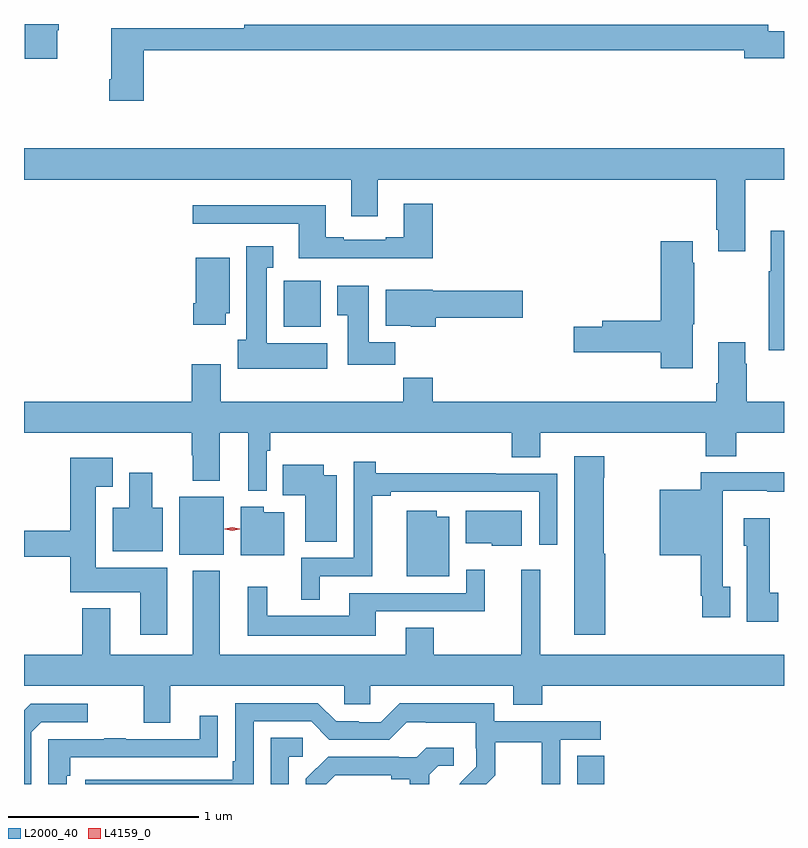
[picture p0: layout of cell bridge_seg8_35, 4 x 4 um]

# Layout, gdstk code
import gdstk
lib = gdstk.Library(unit=1e-6, precision=1e-09)
def R(c, l, rs):  # rectangles x0, y0, x1, y1
    for r in rs: c.add(gdstk.rectangle(r[:2], r[2:], *l))
def P(c, l, *ps):  # polygons
    for p in ps: c.add(gdstk.Polygon(p, *l))
L2000_40 = (2000, 40)
L4159_0 = (4159, 0)

bridge_seg8_35 = lib.new_cell('bridge_seg8_35')
R(bridge_seg8_35, L2000_40, [(1079.327,1126.639,1079.471,1126.787), (1077.233,1127.846,1077.466,1128.151), (1077.782,1129.046,1077.979,1129.288)])
P(bridge_seg8_35, L2000_40, [(1076.59,1130.607),(1076.598,1130.607),(1076.598,1130.639),(1076.42,1130.639),(1076.42,1130.457),(1076.59,1130.457)],
  [(1077.047,1130.5),(1080.206,1130.5),(1080.206,1130.458),(1080.416,1130.458),(1080.416,1130.6),(1080.334,1130.6),(1080.334,1130.636),(1077.574,1130.636),(1077.574,1130.617),(1077.322,1130.617),(1077.322,1130.616),(1076.876,1130.616),(1076.876,1130.347),(1076.864,1130.347),(1076.864,1130.235),(1077.047,1130.235)],
  [(1080.211,1129.82),(1080.416,1129.82),(1080.416,1129.984),(1076.416,1129.984),(1076.416,1129.82),(1078.139,1129.82),(1078.139,1129.626),(1078.279,1129.626),(1078.279,1129.82),(1080.059,1129.82),(1080.059,1129.555),(1080.071,1129.555),(1080.071,1129.443),(1080.211,1129.443)],
  [(1078.568,1129.693),(1078.415,1129.693),(1078.415,1129.516),(1078.319,1129.516),(1078.319,1129.503),(1078.099,1129.503),(1078.099,1129.516),(1078.003,1129.516),(1078.003,1129.684),(1077.303,1129.684),(1077.303,1129.587),(1077.863,1129.587),(1077.863,1129.406),(1078.568,1129.406)],
  [(1080.416,1129.552),(1080.347,1129.552),(1080.347,1129.339),(1080.336,1129.339),(1080.336,1128.923),(1080.416,1128.923)],
  [(1079.935,1129.059),(1079.943,1129.059),(1079.943,1129.382),(1079.935,1129.382),(1079.935,1129.495),(1079.768,1129.495),(1079.768,1129.076),(1079.459,1129.076),(1079.459,1129.046),(1079.31,1129.046),(1079.31,1128.911),(1079.768,1128.911),(1079.768,1128.828),(1079.935,1128.828)],
  [(1078.012,1128.958),(1077.694,1128.958),(1077.694,1129.355),(1077.727,1129.355),(1077.727,1129.468),(1077.587,1129.468),(1077.587,1128.978),(1077.542,1128.978),(1077.542,1128.824),(1078.012,1128.824)],
  [(1077.478,1129.116),(1077.499,1129.116),(1077.499,1129.408),(1077.32,1129.408),(1077.32,1129.168),(1077.308,1129.168),(1077.308,1129.056),(1077.478,1129.056)],
  [(1078.37,1128.964),(1078.231,1128.964),(1078.231,1129.261),(1078.064,1129.261),(1078.064,1129.105),(1078.121,1129.105),(1078.121,1128.846),(1078.37,1128.846)],
  [(1078.583,1129.093),(1079.041,1129.093),(1079.041,1129.235),(1078.566,1129.235),(1078.566,1129.24),(1078.319,1129.24),(1078.319,1129.052),(1078.452,1129.052),(1078.452,1129.046),(1078.583,1129.046)],
  [(1077.693,1128.392),(1077.713,1128.392),(1077.713,1128.488),(1078.982,1128.488),(1078.982,1128.358),(1079.134,1128.358),(1079.134,1128.488),(1080.005,1128.488),(1080.005,1128.364),(1080.165,1128.364),(1080.165,1128.488),(1080.416,1128.488),(1080.416,1128.652),(1080.219,1128.652),(1080.219,1128.851),(1080.211,1128.851),(1080.211,1128.964),(1080.071,1128.964),(1080.071,1128.748),(1080.059,1128.748),(1080.059,1128.652),(1078.568,1128.652),(1078.568,1128.776),(1078.411,1128.776),(1078.411,1128.652),(1077.451,1128.652),(1077.451,1128.847),(1077.299,1128.847),(1077.299,1128.652),(1076.416,1128.652),(1076.416,1128.488),(1077.298,1128.488),(1077.298,1128.368),(1077.305,1128.368),(1077.305,1128.236),(1077.445,1128.236),(1077.445,1128.488),(1077.596,1128.488),(1077.596,1128.182),(1077.693,1128.182)],
  [(1079.476,1127.85),(1079.466,1127.85),(1079.466,1128.251),(1079.471,1128.251),(1079.471,1128.364),(1079.312,1128.364),(1079.312,1127.424),(1079.476,1127.424)],
  [(1077.169,1127.776),(1076.794,1127.776),(1076.794,1128.203),(1076.884,1128.203),(1076.884,1128.355),(1076.66,1128.355),(1076.66,1127.972),(1076.416,1127.972),(1076.416,1127.836),(1076.66,1127.836),(1076.66,1127.648),(1077.029,1127.648),(1077.029,1127.424),(1077.169,1127.424)],
  [(1077.973,1127.733),(1078.25,1127.733),(1078.25,1128.157),(1078.345,1128.157),(1078.345,1128.177),(1079.127,1128.177),(1079.127,1127.898),(1079.223,1127.898),(1079.223,1128.273),(1078.898,1128.273),(1078.898,1128.275),(1078.268,1128.275),(1078.268,1128.334),(1078.152,1128.334),(1078.152,1127.829),(1077.875,1127.829),(1077.875,1127.609),(1077.973,1127.609)],
  [(1078.063,1128.265),(1077.994,1128.265),(1077.994,1128.319),(1077.778,1128.319),(1077.778,1128.158),(1077.896,1128.158),(1077.896,1127.914),(1078.063,1127.914)],
  [(1080.133,1127.678),(1080.093,1127.678),(1080.093,1128.182),(1080.327,1128.182),(1080.327,1128.176),(1080.416,1128.176),(1080.416,1128.281),(1080.227,1128.281),(1080.227,1128.279),(1079.977,1128.279),(1079.977,1128.187),(1079.762,1128.187),(1079.762,1127.843),(1079.977,1127.843),(1079.977,1127.629),(1079.985,1127.629),(1079.985,1127.517),(1080.133,1127.517)],
  [(1077.145,1128.094),(1077.091,1128.094),(1077.091,1128.277),(1076.969,1128.277),(1076.969,1128.094),(1076.882,1128.094),(1076.882,1127.864),(1077.145,1127.864)],
  [(1077.787,1128.07),(1077.678,1128.07),(1077.678,1128.097),(1077.557,1128.097),(1077.557,1127.843),(1077.787,1127.843)],
  [(1079.035,1128.076),(1078.742,1128.076),(1078.742,1127.906),(1078.878,1127.906),(1078.878,1127.894),(1079.035,1127.894)],
  [(1078.654,1128.046),(1078.588,1128.046),(1078.588,1128.076),(1078.43,1128.076),(1078.43,1127.732),(1078.654,1127.732)],
  [(1080.385,1127.646),(1080.34,1127.646),(1080.34,1128.037),(1080.203,1128.037),(1080.203,1127.892),(1080.221,1127.892),(1080.221,1127.492),(1080.385,1127.492)],
  [(1077.187,1127.156),(1078.101,1127.156),(1078.101,1127.058),(1078.239,1127.058),(1078.239,1127.156),(1078.991,1127.156),(1078.991,1127.057),(1079.144,1127.057),(1079.144,1127.156),(1080.416,1127.156),(1080.416,1127.32),(1079.132,1127.32),(1079.132,1127.767),(1079.033,1127.767),(1079.033,1127.32),(1078.572,1127.32),(1078.572,1127.462),(1078.424,1127.462),(1078.424,1127.32),(1077.445,1127.32),(1077.445,1127.761),(1077.305,1127.761),(1077.305,1127.32),(1076.869,1127.32),(1076.869,1127.563),(1076.722,1127.563),(1076.722,1127.32),(1076.416,1127.32),(1076.416,1127.156),(1077.047,1127.156),(1077.047,1126.962),(1077.187,1126.962)],
  [(1078.267,1127.547),(1078.841,1127.547),(1078.841,1127.767),(1078.743,1127.767),(1078.743,1127.643),(1078.127,1127.643),(1078.127,1127.524),(1077.697,1127.524),(1077.697,1127.677),(1077.593,1127.677),(1077.593,1127.42),(1078.267,1127.42)],
  [(1077.624,1126.968),(1077.927,1126.968),(1078.023,1126.872),(1078.338,1126.872),(1078.431,1126.965),(1078.531,1126.965),(1078.531,1126.961),(1078.794,1126.961),(1078.794,1126.827),(1078.796,1126.827),(1078.796,1126.73),(1078.722,1126.656),(1078.723,1126.655),(1078.707,1126.639),(1078.849,1126.639),(1078.895,1126.685),(1078.895,1126.86),(1079.14,1126.86),(1079.14,1126.639),(1079.238,1126.639),(1079.238,1126.872),(1079.452,1126.872),(1079.452,1126.968),(1078.89,1126.968),(1078.89,1127.065),(1078.393,1127.065),(1078.293,1126.965),(1078.178,1126.965),(1078.178,1126.968),(1078.059,1126.968),(1077.963,1127.064),(1077.528,1127.064),(1077.528,1126.759),(1077.515,1126.759),(1077.515,1126.662),(1076.739,1126.662),(1076.739,1126.639),(1077.624,1126.639)],
  [(1076.454,1126.911),(1076.508,1126.965),(1076.752,1126.965),(1076.752,1127.061),(1076.451,1127.061),(1076.416,1127.026),(1076.416,1126.639),(1076.454,1126.639)],
  [(1076.64,1126.682),(1076.66,1126.682),(1076.66,1126.779),(1077.335,1126.779),(1077.335,1126.78),(1077.437,1126.78),(1077.437,1126.999),(1077.341,1126.999),(1077.341,1126.875),(1076.951,1126.875),(1076.951,1126.88),(1076.839,1126.88),(1076.839,1126.875),(1076.544,1126.875),(1076.544,1126.639),(1076.64,1126.639)],
  [(1077.81,1126.782),(1077.883,1126.782),(1077.883,1126.883),(1077.714,1126.883),(1077.714,1126.639),(1077.81,1126.639)],
  [(1078.054,1126.686),(1078.349,1126.686),(1078.349,1126.664),(1078.445,1126.664),(1078.445,1126.639),(1078.549,1126.639),(1078.549,1126.687),(1078.596,1126.734),(1078.678,1126.734),(1078.678,1126.831),(1078.534,1126.831),(1078.482,1126.779),(1078.388,1126.779),(1078.388,1126.782),(1078.016,1126.782),(1077.9,1126.666),(1077.9,1126.639),(1078.007,1126.639)])
P(bridge_seg8_35, L4159_0, [(1077.512,1127.971),(1077.472,1127.981),(1077.472,1127.981),(1077.472,1127.982),(1077.512,1127.991),(1077.552,1127.982),(1077.552,1127.981),(1077.552,1127.981)])

lib.write_gds('bridge_seg8_35.gds')
